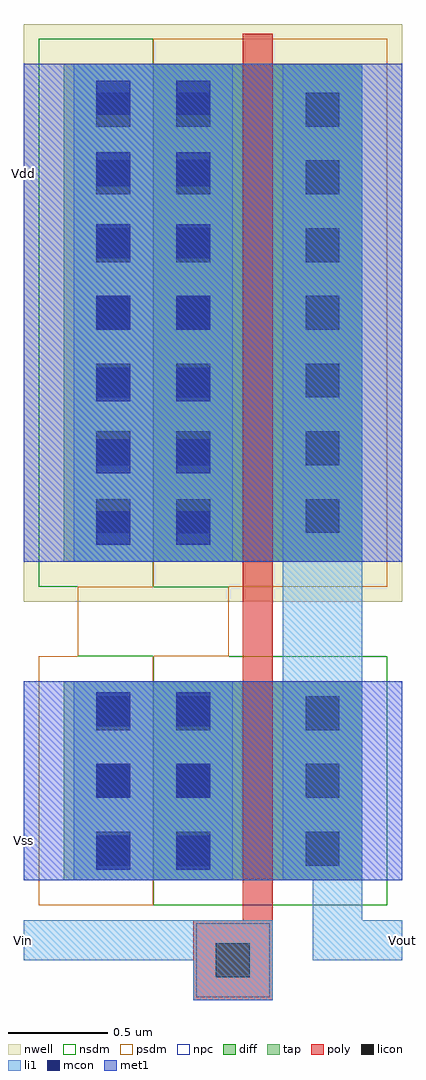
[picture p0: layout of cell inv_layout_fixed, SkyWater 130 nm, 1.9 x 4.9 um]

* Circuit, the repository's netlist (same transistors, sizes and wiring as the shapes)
* SPICE3 file created from inv_layout_fixed.ext - technology: sky130B

.subckt inv_layout_fixed Vin Vout Vdd Vss
X0 Vout Vin Vdd Vdd sky130_fd_pr__pfet_01v8 ad=1.125 pd=5.9 as=1.125 ps=5.9 w=2.5 l=0.15
X1 Vout Vin Vss Vss sky130_fd_pr__nfet_01v8 ad=0.45 pd=2.9 as=0.45 ps=2.9 w=1 l=0.15
.ends

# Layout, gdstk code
import gdstk
lib = gdstk.Library(unit=1e-6, precision=1e-09)
def R(c, l, rs):  # rectangles x0, y0, x1, y1
    for r in rs: c.add(gdstk.rectangle(r[:2], r[2:], *l))
def A(c, l, x, y, w, h, nx, ny, dx, dy):  # array of equal rectangles
    R(c, l, [(x+i*dx, y+j*dy, x+i*dx+w, y+j*dy+h) for i in range(nx) for j in range(ny)])
nwell = (64, 20)
diff = (65, 20)
tap = (65, 44)
poly = (66, 20)
licon = (66, 44)
li1 = (67, 20)
mcon = (67, 44)
met1 = (68, 20)
nsdm = (93, 44)
psdm = (94, 20)
npc = (95, 20)

inv_layout_fixed = lib.new_cell('inv_layout_fixed')
R(inv_layout_fixed, nwell, [(-1.15,0.7,0.75,3.6)])
R(inv_layout_fixed, diff, [(-0.5,-0.7,0.55,0.3), (-0.5,0.9,0.55,3.4)])
R(inv_layout_fixed, tap, [(-0.95,-0.7,-0.5,0.3), (-0.95,0.9,-0.5,3.4)])
R(inv_layout_fixed, poly, [(-0.3,-1.3,0.1,-0.9), (-0.05,-0.9,0.1,3.55)])
A(inv_layout_fixed, licon, -0.785, -0.625, 0.17, 0.17, 1, 3, 0, 0.34)
A(inv_layout_fixed, licon, -0.385, -0.625, 0.17, 0.17, 1, 3, 0, 0.34)
A(inv_layout_fixed, licon, 0.265, -0.625, 0.17, 0.17, 1, 3, 0, 0.34)
A(inv_layout_fixed, licon, -0.785, 1.045, 0.17, 0.17, 1, 7, 0, 0.34)
A(inv_layout_fixed, licon, -0.385, 1.045, 0.17, 0.17, 1, 7, 0, 0.34)
A(inv_layout_fixed, licon, 0.265, 1.045, 0.17, 0.17, 1, 7, 0, 0.34)
R(inv_layout_fixed, licon, [(-0.185,-1.185,-0.015,-1.015)])
R(inv_layout_fixed, li1, [(-0.3,-1.3,0.1,-1.1), (-1.15,-1.1,0.1,-0.9), (0.3,-1.1,0.75,-0.9), (0.3,-0.9,0.55,-0.7), (-0.9,-0.7,-0.1,0.3), (0.15,-0.7,0.55,3.4), (-0.9,0.9,-0.1,3.4)])
A(inv_layout_fixed, mcon, -0.785, -0.645, 0.17, 0.17, 1, 3, 0, 0.36)
A(inv_layout_fixed, mcon, -0.385, -0.645, 0.17, 0.17, 1, 3, 0, 0.36)
A(inv_layout_fixed, mcon, -0.785, 0.985, 0.17, 0.17, 1, 7, 0, 0.36)
A(inv_layout_fixed, mcon, -0.385, 0.985, 0.17, 0.17, 1, 7, 0, 0.36)
R(inv_layout_fixed, met1, [(-1.15,-0.7,0.75,0.3), (-1.15,0.9,0.75,3.4)])
R(inv_layout_fixed, nsdm, [(-0.5,-0.825,0.675,0.425), (-0.88,0.425,-0.12,0.775), (-1.075,0.775,-0.5,3.525)])
R(inv_layout_fixed, psdm, [(-1.075,-0.825,-0.5,0.425), (-0.88,0.425,-0.12,0.775), (-0.5,0.775,0.675,3.525)])
R(inv_layout_fixed, npc, [(-0.285,-1.285,0.085,-0.915)])
inv_layout_fixed.add(gdstk.Label('Vin', (-1.15,-1), layer=67, texttype=5))
inv_layout_fixed.add(gdstk.Label('Vout', (0.75,-1), layer=67, texttype=5))
inv_layout_fixed.add(gdstk.Label('Vdd', (-1.15,2.85), layer=68, texttype=5))
inv_layout_fixed.add(gdstk.Label('Vss', (-1.15,-0.5), layer=68, texttype=5))

lib.write_gds('inv_layout_fixed.gds')
